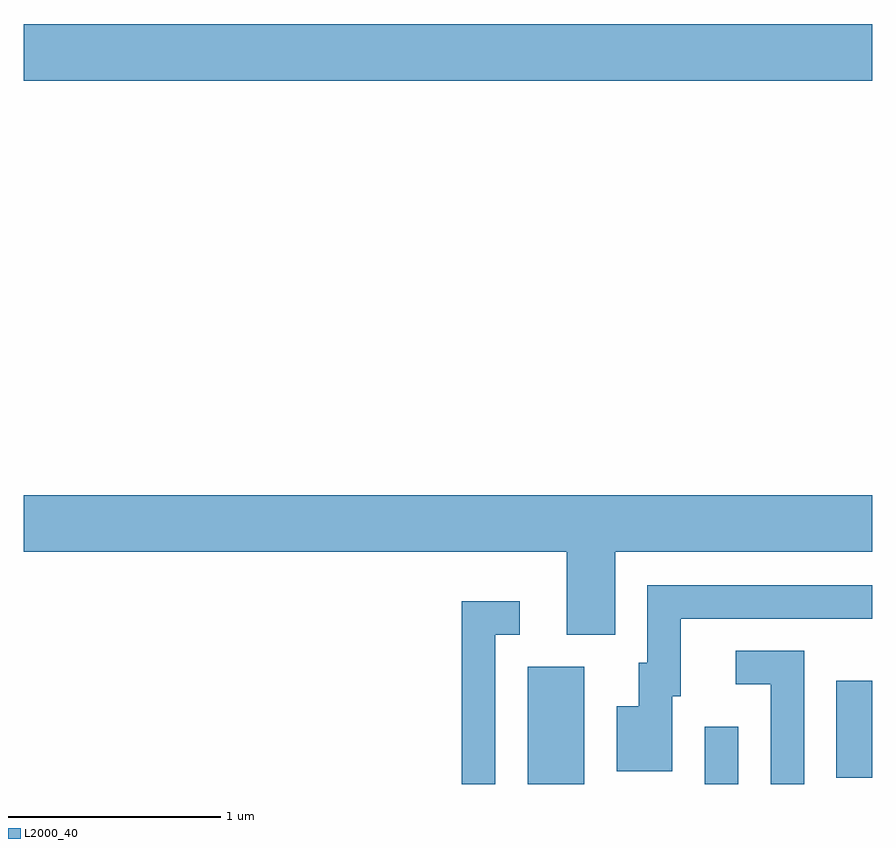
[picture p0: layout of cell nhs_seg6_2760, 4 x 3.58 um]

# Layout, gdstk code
import gdstk
lib = gdstk.Library(unit=1e-6, precision=1e-09)
def R(c, l, rs):  # rectangles x0, y0, x1, y1
    for r in rs: c.add(gdstk.rectangle(r[:2], r[2:], *l))
def P(c, l, *ps):  # polygons
    for p in ps: c.add(gdstk.Polygon(p, *l))
L2000_40 = (2000, 40)

nhs_seg6_2760 = lib.new_cell('nhs_seg6_2760')
R(nhs_seg6_2760, L2000_40, [(269.986,1662.162,270.254,1662.714), (270.821,1662.162,270.979,1662.433), (271.441,1662.191,271.611,1662.649), (267.611,1665.476,271.611,1665.744)])
P(nhs_seg6_2760, L2000_40, [(270.399,1663.256),(271.611,1663.256),(271.611,1663.524),(267.611,1663.524),(267.611,1663.256),(270.171,1663.256),(270.171,1662.866),(270.399,1662.866)],
  [(270.669,1662.576),(270.709,1662.576),(270.709,1662.941),(271.611,1662.941),(271.611,1663.099),(270.551,1663.099),(270.551,1662.734),(270.511,1662.734),(270.511,1662.529),(270.406,1662.529),(270.406,1662.221),(270.669,1662.221)],
  [(269.834,1662.866),(269.948,1662.866),(269.948,1663.024),(269.676,1663.024),(269.676,1662.162),(269.834,1662.162)],
  [(271.289,1662.789),(270.968,1662.789),(270.968,1662.631),(271.131,1662.631),(271.131,1662.162),(271.289,1662.162)])

lib.write_gds('nhs_seg6_2760.gds')
